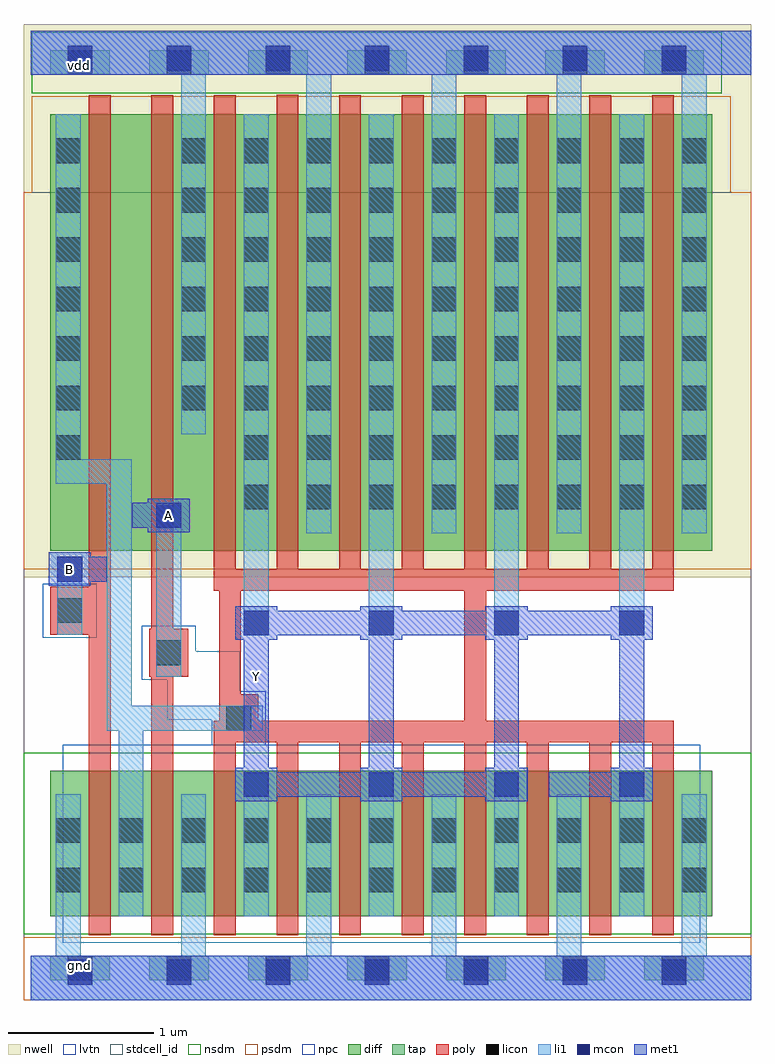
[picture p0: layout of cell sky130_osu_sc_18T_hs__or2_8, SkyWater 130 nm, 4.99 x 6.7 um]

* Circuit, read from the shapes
.subckt sky130_osu_sc_18T_hs__or2_8 A B Y gnd vdd
XM1 n1 B gnd gnd sky130_fd_pr__nfet_01v8_lvt w=1 l=0.15
XM2 gnd A n1 gnd sky130_fd_pr__nfet_01v8_lvt w=1 l=0.15
XM3 Y n1 gnd gnd sky130_fd_pr__nfet_01v8_lvt w=1 l=0.15 m=8
XM4 n2 B n1 vdd sky130_fd_pr__pfet_01v8 w=3 l=0.15
XM5 vdd A n2 vdd sky130_fd_pr__pfet_01v8 w=3 l=0.15
XM6 Y n1 vdd vdd sky130_fd_pr__pfet_01v8 w=3 l=0.15 m=8
.ends

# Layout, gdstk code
import gdstk
lib = gdstk.Library(unit=1e-6, precision=1e-09)
def R(c, l, rs):  # rectangles x0, y0, x1, y1
    for r in rs: c.add(gdstk.rectangle(r[:2], r[2:], *l))
def A(c, l, x, y, w, h, nx, ny, dx, dy):  # array of equal rectangles
    R(c, l, [(x+i*dx, y+j*dy, x+i*dx+w, y+j*dy+h) for i in range(nx) for j in range(ny)])
nwell = (64, 20)
diff = (65, 20)
tap = (65, 44)
poly = (66, 20)
licon = (66, 44)
li1 = (67, 20)
mcon = (67, 44)
met1 = (68, 20)
stdcell_id = (81, 4)
nsdm = (93, 44)
psdm = (94, 20)
npc = (95, 20)
lvtn = (125, 44)

sky130_osu_sc_18t_hs__or = lib.new_cell('sky130_osu_sc_18T_hs__or2_8')
R(sky130_osu_sc_18t_hs__or, nwell, [(-0.045,2.905,4.95,6.705)])
R(sky130_osu_sc_18t_hs__or, diff, [(0.135,0.575,4.685,1.575), (0.135,3.085,4.685,6.085)])
A(sky130_osu_sc_18t_hs__or, tap, 0.135, 0.135, 0.41, 0.17, 7, 2, 0.68, 6.22)
A(sky130_osu_sc_18t_hs__or, poly, 1.26, 0.445, 0.15, 1.325, 8, 1, 0.43, 0)
A(sky130_osu_sc_18t_hs__or, poly, 2.12, 2.96, 0.15, 3.255, 6, 1, 0.43, 0)
R(sky130_osu_sc_18t_hs__or, poly, [(0.4,0.445,0.55,2.51), (0.83,0.445,0.98,2.22), (1.26,1.77,4.42,1.92), (1.295,1.92,1.565,2.1), (2.98,1.92,3.13,2.81), (1.295,2.1,1.445,2.81), (0.815,2.22,1.085,2.55), (0.135,2.51,0.55,2.84), (0.83,2.55,0.98,6.215), (1.26,2.81,4.42,2.96), (0.4,2.84,0.55,6.215), (1.26,2.96,1.41,6.215), (1.69,2.96,1.84,6.22)])
A(sky130_osu_sc_18t_hs__or, licon, 0.255, 0.135, 0.17, 0.17, 7, 2, 0.68, 6.22)
A(sky130_osu_sc_18t_hs__or, licon, 0.175, 0.74, 0.17, 0.17, 11, 2, 0.43, 0.34)
A(sky130_osu_sc_18t_hs__or, licon, 1.465, 3.37, 0.17, 0.17, 8, 2, 0.43, 0.34)
A(sky130_osu_sc_18t_hs__or, licon, 0.175, 3.71, 0.17, 0.17, 1, 7, 0, 0.34)
A(sky130_osu_sc_18t_hs__or, licon, 1.035, 4.05, 0.17, 0.17, 9, 6, 0.43, 0.34)
R(sky130_osu_sc_18t_hs__or, licon, [(1.345,1.85,1.515,2.02), (0.865,2.3,1.035,2.47), (0.185,2.59,0.355,2.76)])
A(sky130_osu_sc_18t_hs__or, li1, 0.175, 0.305, 0.17, 1.11, 6, 1, 0.86, 0)
A(sky130_osu_sc_18t_hs__or, li1, 1.465, 0.575, 0.17, 0.99, 4, 1, 0.86, 0)
A(sky130_osu_sc_18t_hs__or, li1, 1.465, 2.505, 0.17, 3.58, 4, 1, 0.86, 0)
A(sky130_osu_sc_18t_hs__or, li1, 1.895, 3.205, 0.17, 3.15, 4, 1, 0.86, 0)
R(sky130_osu_sc_18t_hs__or, li1, [(0,0,4.95,0.305), (0.605,0.575,0.775,1.85), (0.525,1.85,1.595,2.02), (0.525,2.02,0.695,3.545), (0.865,2.22,1.035,3.415), (0.185,2.51,0.355,3.045), (0.175,3.545,0.695,3.715), (0.175,3.715,0.345,6.085), (1.035,3.885,1.205,6.355), (0,6.355,4.95,6.66)])
A(sky130_osu_sc_18t_hs__or, mcon, 0.255, 0.105, 0.17, 0.17, 7, 2, 0.68, 6.28)
A(sky130_osu_sc_18t_hs__or, mcon, 1.465, 1.395, 0.17, 0.17, 4, 2, 0.86, 1.11)
R(sky130_osu_sc_18t_hs__or, mcon, [(0.185,2.875,0.355,3.045), (0.865,3.245,1.035,3.415)])
A(sky130_osu_sc_18t_hs__or, met1, 1.405, 1.365, 0.29, 0.03, 4, 2, 0.86, 0.2)
A(sky130_osu_sc_18t_hs__or, met1, 1.465, 1.595, 0.17, 0.88, 4, 1, 0.86, 0)
A(sky130_osu_sc_18t_hs__or, met1, 1.405, 2.475, 0.29, 0.03, 4, 2, 0.86, 0.2)
R(sky130_osu_sc_18t_hs__or, met1, [(0,0,4.95,0.305), (1.405,1.395,3.415,1.565), (3.56,1.395,4.275,1.565), (1.405,2.505,4.275,2.675), (0.125,2.845,0.415,2.875), (0.125,2.875,0.525,3.045), (0.125,3.045,0.415,3.075), (0.805,3.215,1.095,3.245), (0.7,3.245,1.095,3.415), (0.805,3.415,1.095,3.445), (0,6.355,4.95,6.66)])
R(sky130_osu_sc_18t_hs__or, stdcell_id, [(-0.045,0,4.95,5.55)])
R(sky130_osu_sc_18t_hs__or, nsdm, [(-0.045,0.45,4.95,1.7), (0.01,6.23,4.75,6.65)])
R(sky130_osu_sc_18t_hs__or, psdm, [(-0.045,0,4.95,0.43), (-0.045,2.96,4.95,5.55), (0.01,5.55,4.81,6.21)])
R(sky130_osu_sc_18t_hs__or, npc, [(1.245,1.75,1.615,1.925), (0.94,1.925,1.615,2.12), (0.94,2.12,1.44,2.2), (0.765,2.2,1.44,2.395), (0.765,2.395,1.135,2.57), (0.085,2.49,0.455,2.86)])
R(sky130_osu_sc_18t_hs__or, lvtn, [(0.22,0.395,4.6,1.755)])
sky130_osu_sc_18t_hs__or.add(gdstk.Label('gnd', (0.34,0.24), layer=68, texttype=16))
sky130_osu_sc_18t_hs__or.add(gdstk.Label('vdd', (0.34,6.42), layer=68, texttype=16))
sky130_osu_sc_18t_hs__or.add(gdstk.Label('Y', (1.555,2.22), layer=68, texttype=5))
sky130_osu_sc_18t_hs__or.add(gdstk.Label('A', (0.95,3.33), layer=68, texttype=5))
sky130_osu_sc_18t_hs__or.add(gdstk.Label('B', (0.27,2.96), layer=68, texttype=5))

lib.write_gds('sky130_osu_sc_18T_hs__or2_8.gds')
